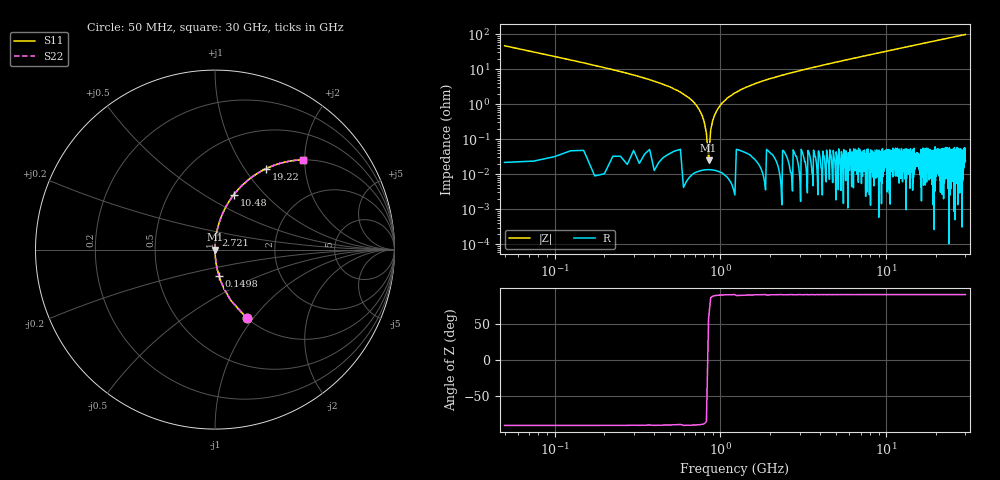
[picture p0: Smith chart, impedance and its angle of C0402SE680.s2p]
!	AVX Thin Film Operation 	Date: April 2014
!	Description: Accu-P® Series, Thin Film  SMD RF Capacitor
!	Part Number: 04023K680FBSTR
# MHZ S MA R 50
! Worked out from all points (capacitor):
!   1201 points, 50 MHz to 30 GHz, reference 50 ohm
!   read as one part in series: C = 68 pF near 199.8 MHz
!   lowest |Z| = 24.6 mohm at 848.7 MHz (marker M1)
!   series resonance near 845.6 MHz, so ESL is about 520 pH
!   S11 on the Smith chart (normalised r, x): 50 MHz: 1.00, -0.93; 149.8 MHz: 1.00, -0.30; 2.721 GHz: 1.00, +0.16; 10.48 GHz: 1.00, +0.68; 19.22 GHz: 1.00, +1.26; 30 GHz: 1.00, +1.96
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50  0.423 -65.0  0.906 25.0  0.906 25.0  0.423 -65.0
149.833  0.15 -81.3  0.988 8.6  0.988 8.6  0.15 -81.3
299.583  0.068 -85.9  0.997 3.9  0.997 3.9  0.068 -85.9
599.083  0.019 -88.1  1 1.1  1 1.1  0.019 -88.1
649  0.015 -88.1  1 0.8  1 0.8  0.015 -88.1
748.833  0.006746 -87.3  1 0.4  1 0.4  0.006746 -87.3
848.667  0.0003374 36.8  1 -0.0  1 -0.0  0.0003374 36.8
948.5  0.006377 87.2  1 -0.4  1 -0.4  0.006377 87.2
998.417  0.009242 87.8  1 -0.5  1 -0.5  0.009242 87.8
1048.333  0.012 88.0  1 -0.7  1 -0.7  0.012 88.0
1123.208  0.016 88.1  1 -0.9  1 -0.9  0.016 88.1
1422.708  0.03 87.8  0.999 -1.7  0.999 -1.7  0.03 87.8
1871.958  0.049 86.9  0.999 -2.8  0.999 -2.8  0.049 86.9
2720.542  0.08 85.2  0.997 -4.6  0.997 -4.6  0.08 85.2
5041.667  0.158 80.8  0.987 -9.1  0.987 -9.1  0.158 80.8
10058.29  0.311 71.9  0.95 -18.1  0.95 -18.1  0.311 71.9
10482.58  0.323 71.1  0.946 -18.8  0.946 -18.8  0.323 71.1
15025  0.44 63.9  0.898 -26.1  0.898 -26.1  0.44 63.9
19218  0.532 57.9  0.847 -32.1  0.847 -32.1  0.532 57.9
20016.67  0.547 56.8  0.837 -33.2  0.837 -33.2  0.547 56.8
25033.29  0.633 50.7  0.774 -39.3  0.774 -39.3  0.633 50.7
30000  0.7 45.5  0.714 -44.5  0.714 -44.5  0.7 45.5
